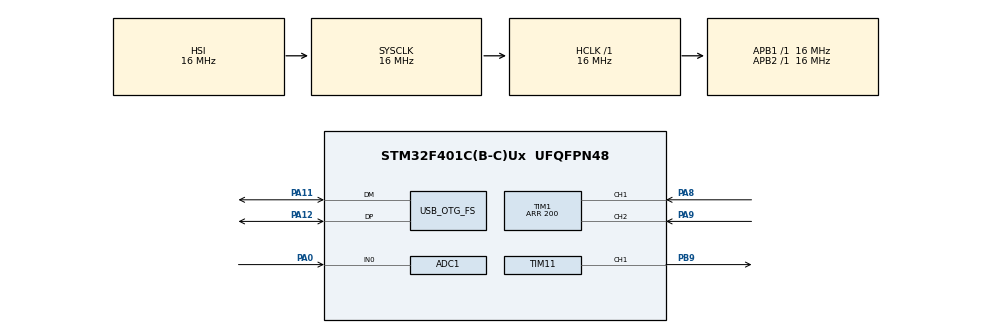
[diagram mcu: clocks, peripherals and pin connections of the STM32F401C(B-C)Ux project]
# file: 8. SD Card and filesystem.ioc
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ADC1.Channel-1\#ChannelRegularConversion=ADC_CHANNEL_0
ADC1.ClockPrescaler=ADC_CLOCK_SYNC_PCLK_DIV2
ADC1.ExternalTrigConv=ADC_EXTERNALTRIGCONV_T3_TRGO
ADC1.NbrOfConversionFlag=1
ADC1.Rank-1\#ChannelRegularConversion=1
ADC1.Resolution=ADC_RESOLUTION_8B
ADC1.SamplingTime-1\#ChannelRegularConversion=ADC_SAMPLETIME_3CYCLES
ADC1.master=1
Mcu.Family=STM32F4
Mcu.Name=STM32F401C(B-C)Ux
Mcu.Package=UFQFPN48
NVIC.ADC_IRQn=true\:0\:0\:false\:false\:true\:true\:true\:true
NVIC.OTG_FS_IRQn=true\:0\:0\:false\:false\:true\:false\:true\:true
NVIC.PriorityGroup=NVIC_PRIORITYGROUP_4
PA0-WKUP.Signal=ADCx_IN0
PA11.Mode=Device_Only
PA11.Signal=USB_OTG_FS_DM
PA12.Mode=Device_Only
PA12.Signal=USB_OTG_FS_DP
PA13.Mode=Serial_Wire
PA13.Signal=SYS_JTMS-SWDIO
PA14.Mode=Serial_Wire
PA14.Signal=SYS_JTCK-SWCLK
PA8.Signal=S_TIM1_CH1
PA9.Signal=S_TIM1_CH2
PB9.Signal=S_TIM11_CH1
ProjectManager.HeapSize=0x200
ProjectManager.StackSize=0x400
ProjectManager.TargetToolchain=STM32CubeIDE
RCC.AHBFreq_Value=16000000
RCC.APB1Freq_Value=16000000
RCC.APB2Freq_Value=16000000
RCC.CortexFreq_Value=16000000
RCC.HSE_VALUE=25000000
RCC.HSI_VALUE=16000000
RCC.LSE_VALUE=32768
RCC.PLLSource=RCC_PLLSOURCE_HSI
RCC.PLLSourceVirtualString=RCC_PLLSOURCE_HSI
RCC.SYSCLKFreq_VALUE=16000000
RCC.VCOOutputFreq_Value=192000000
SH.ADCx_IN0.0=ADC1_IN0,IN0
SH.S_TIM11_CH1.0=TIM11_CH1,PWM Generation1 CH1
SH.S_TIM1_CH1.0=TIM1_CH1,Encoder_Interface
SH.S_TIM1_CH2.0=TIM1_CH2,Encoder_Interface
TIM1.Period=200
TIM11.Channel=TIM_CHANNEL_1
TIM11.Period=200-1
TIM11.Prescaler=16-1
TIM3.Period=300-1
TIM3.Prescaler=16-1
TIM3.TIM_MasterOutputTrigger=TIM_TRGO_OC1
USB_DEVICE.CLASS_NAME_FS=MSC
USB_DEVICE.VirtualMode=Msc
USB_DEVICE.VirtualModeFS=Msc_FS
USB_OTG_FS.VirtualMode=Device_Only
VP_FATFS_VS_Generic.Mode=User_defined
VP_TIM11_VS_ClockSourceINT.Mode=Enable_Timer
VP_TIM3_VS_ClockSourceINT.Mode=Internal
VP_USB_DEVICE_VS_USB_DEVICE_MSC_FS.Mode=MSC_FS
board=custom

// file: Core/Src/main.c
/* USER CODE BEGIN Header */
/**
  ******************************************************************************
  * @file           : main.c
  * @brief          : Main program body
  ******************************************************************************
  * @attention
  *
  * Copyright (c) 2024 STMicroelectronics.
  * All rights reserved.
  *
  * This software is licensed under terms that can be found in the LICENSE file
  * in the root directory of this software component.
  * If no LICENSE file comes with this software, it is provided AS-IS.
  *
  ******************************************************************************
  */
/* USER CODE END Header */
#include "main.h"
#include "adc.h"
#include "fatfs.h"
#include "tim.h"
#include "usb_device.h"
#include "gpio.h"

/* USER CODE BEGIN PD */

#define MAX_ADC 0xFFF

#define BUFFER_VOLT_L 100

#define CUSTOM
#undef CUSTOM
/* USER CODE END PD */

void SystemClock_Config(void);

int main(void)
{

  /* MCU Configuration--------------------------------------------------------*/

  /* Reset of all peripherals, Initializes the Flash interface and the Systick. */
  HAL_Init();

  /* Configure the system clock */
  SystemClock_Config();

  /* Initialize all configured peripherals */
  MX_GPIO_Init();
  MX_ADC1_Init();
  MX_TIM1_Init();
  MX_TIM3_Init();
  MX_TIM11_Init();
  MX_FATFS_Init();
  MX_USB_DEVICE_Init();
  /* USER CODE BEGIN 2 */

  if(f_mount(&USERFatFS, USERPath, 1) != FR_OK)
	  Error_Handler();
#ifndef CUSTOM
  f_open(&USERFile, "volt.csv", FA_WRITE | FA_OPEN_APPEND | FA_OPEN_ALWAYS);
#endif
  ADC1_Start_IT();
  TIM1_Encoder_Start();
  TIM11_PWM_Start();
  TIM3_Base_Start();

  /* USER CODE END 2 */

  /* Infinite loop */
  /* USER CODE BEGIN WHILE */
  while (1)
  {
	TIM11->CCR1 = TIM1->CNT;
    /* USER CODE END WHILE */

    /* USER CODE BEGIN 3 */
  }
  return 0;
  /* USER CODE END 3 */
}

void SystemClock_Config(void)
{
  RCC_OscInitTypeDef RCC_OscInitStruct = {0};
  RCC_ClkInitTypeDef RCC_ClkInitStruct = {0};

  /** Configure the main internal regulator output voltage
  */
  __HAL_RCC_PWR_CLK_ENABLE();
  __HAL_PWR_VOLTAGESCALING_CONFIG(PWR_REGULATOR_VOLTAGE_SCALE2);

  /** Initializes the RCC Oscillators according to the specified parameters
  * in the RCC_OscInitTypeDef structure.
  */
  RCC_OscInitStruct.OscillatorType = RCC_OSCILLATORTYPE_HSI;
  RCC_OscInitStruct.HSIState = RCC_HSI_ON;
  RCC_OscInitStruct.HSICalibrationValue = RCC_HSICALIBRATION_DEFAULT;
  RCC_OscInitStruct.PLL.PLLState = RCC_PLL_ON;
  RCC_OscInitStruct.PLL.PLLSource = RCC_PLLSOURCE_HSI;
  RCC_OscInitStruct.PLL.PLLM = 16;
  RCC_OscInitStruct.PLL.PLLN = 192;
  RCC_OscInitStruct.PLL.PLLP = RCC_PLLP_DIV2;
  RCC_OscInitStruct.PLL.PLLQ = 4;
  if (HAL_RCC_OscConfig(&RCC_OscInitStruct) != HAL_OK)
  {
    Error_Handler();
  }

  /** Initializes the CPU, AHB and APB buses clocks
  */
  RCC_ClkInitStruct.ClockType = RCC_CLOCKTYPE_HCLK|RCC_CLOCKTYPE_SYSCLK
                              |RCC_CLOCKTYPE_PCLK1|RCC_CLOCKTYPE_PCLK2;
  RCC_ClkInitStruct.SYSCLKSource = RCC_SYSCLKSOURCE_HSI;
  RCC_ClkInitStruct.AHBCLKDivider = RCC_SYSCLK_DIV1;
  RCC_ClkInitStruct.APB1CLKDivider = RCC_HCLK_DIV1;
  RCC_ClkInitStruct.APB2CLKDivider = RCC_HCLK_DIV1;

  if (HAL_RCC_ClockConfig(&RCC_ClkInitStruct, FLASH_LATENCY_0) != HAL_OK)
  {
    Error_Handler();
  }
}

/* USER CODE BEGIN 4 */

void HAL_ADC_ConvCpltCallback(ADC_HandleTypeDef* hadc)
{

	// была попытка сделать данный вариант, но он не прокатил
#ifdef CUSTOM
	static uint32_t conv_n = 0;

	static uint32_t write_n = 0;

	static uint32_t volt_buff[BUFFER_VOLT_L] = {0};

	volt_buff[conv_n++] = ADC1_GetValue() * 3300 / MAX_ADC;

	if(conv_n >= BUFFER_VOLT_L){
		if(write_n < 10){
			f_open(&USERFile, "volt.csv", FA_WRITE | FA_OPEN_APPEND | FA_OPEN_ALWAYS);

			char str[50] = {0};

			for (int i = 0; i < conv_n; i++)
			{
				uint32_t time = (write_n * BUFFER_VOLT_L + i) * 1;

				int len = sprintf(str, "%lu; %lu\n", time, volt_buff[i]);

				f_write(&USERFile, str, len, NULL);
			}

			write_n += 1;

			f_close(&USERFile);
		}
		conv_n = 0;
	}
#else
	static uint32_t conv_n = 0;

	uint32_t volt = ADC1_GetValue() * 3300 / MAX_ADC;

	char str[50] = {0};

	if(conv_n < 800){
		uint32_t time = conv_n * 100;

		int len = sprintf(str,"%lu; %lu\n", time, volt);

		f_write(&USERFile, str, len, NULL);

		conv_n += 1;
	}
	else
		f_close(&USERFile);
#endif
}

/* USER CODE END 4 */

void Error_Handler(void)
{
  __disable_irq();
  while (1)
  {
  }
}
